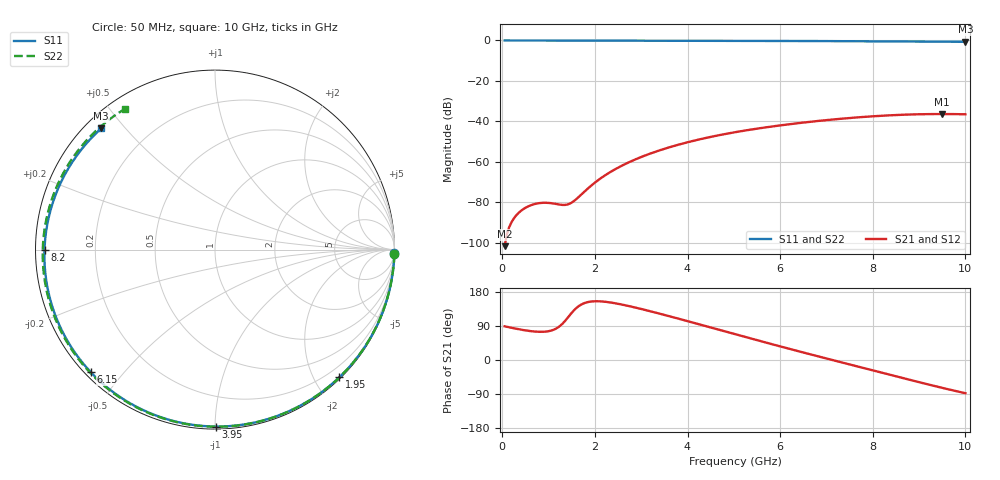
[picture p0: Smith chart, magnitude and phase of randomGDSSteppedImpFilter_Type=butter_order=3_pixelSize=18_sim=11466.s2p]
! freq	dB(S11)	phase(S11)	dB(S12)	phase(S12)
!  dB(S21)	phase(S21)	dB(S22)	phase(S22)
!S-par simulation data
#  GHz  S  DB  R 50
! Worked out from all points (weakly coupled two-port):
!   200 points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, 50 MHz to 10 GHz, reference 50 ohm
!   highest |S21| = -36.39 dB at 9.5 GHz (marker M1); lowest = -101.8 dB at 50 MHz (marker M2)
!   lowest |S11| = -0.7 dB at 10 GHz (marker M3), VSWR 26.06, Z = 2.28 + j21.6 ohm
!   |S11| at or under -10 dB: nowhere
!   |S22| runs from -0.6 to 0.0 dB; largest |S21 - S12| = 0
!   S11 on the Smith chart (normalised r, x): 50 MHz: 0, -95; 1.95 GHz: 0.02, -2.37; 3.95 GHz: 0.01, -1.01; 6.15 GHz: 0.02, -0.41; 8.2 GHz: 0.03, +0.00; 10 GHz: 0.05, +0.43
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0.05  -0.00 -1.2  -101.76 88.8  -101.76 88.8  -0.00 -1.5
0.75  -0.02 -17.8  -80.65 74.6  -80.65 74.6  -0.03 -21.4
1.5  -0.04 -35.4  -80.20 124.6  -80.20 124.6  -0.05 -42.3
1.6  -0.05 -37.7  -78.45 137.2  -78.45 137.2  -0.06 -45.0
1.75  -0.05 -41.2  -75.28 149.0  -75.28 149.0  -0.06 -49.0
1.95  -0.06 -45.8  -71.24 154.7  -71.24 154.7  -0.07 -54.4
2.25  -0.07 -52.6  -66.26 153.3  -66.26 153.3  -0.08 -62.2
2.6  -0.08 -60.4  -61.74 145.9  -61.74 145.9  -0.09 -71.2
2.95  -0.09 -68.1  -58.11 136.1  -58.11 136.1  -0.10 -80.0
3.4  -0.10 -77.9  -54.34 122.2  -54.34 122.2  -0.12 -90.9
3.95  -0.12 -89.7  -50.66 104.3  -50.66 104.3  -0.14 -103.8
4.5  -0.15 -101.3  -47.71 85.9  -47.71 85.9  -0.16 -116.2
5.05  -0.17 -112.7  -45.29 67.4  -45.29 67.4  -0.19 -128.2
5.6  -0.21 -124.0  -43.28 49.1  -43.28 49.1  -0.22 -140.0
6.15  -0.24 -135.4  -41.58 31.0  -41.58 31.0  -0.25 -151.6
6.7  -0.29 -146.9  -40.11 13.4  -40.11 13.4  -0.29 -163.1
7.45  -0.36 -163.0  -38.46 -10.2  -38.46 -10.2  -0.35 -178.9
8.2  -0.45 180.0  -37.24 -33.7  -37.24 -33.7  -0.42 164.9
8.35  -0.46 176.4  -37.05 -38.4  -37.05 -38.4  -0.44 161.6
8.95  -0.54 161.7  -36.53 -57.0  -36.53 -57.0  -0.50 148.1
9.5  -0.61 147.3  -36.39 -73.5  -36.39 -73.5  -0.57 135.0
10  -0.67 133.2  -36.52 -87.7  -36.52 -87.7  -0.63 122.7
